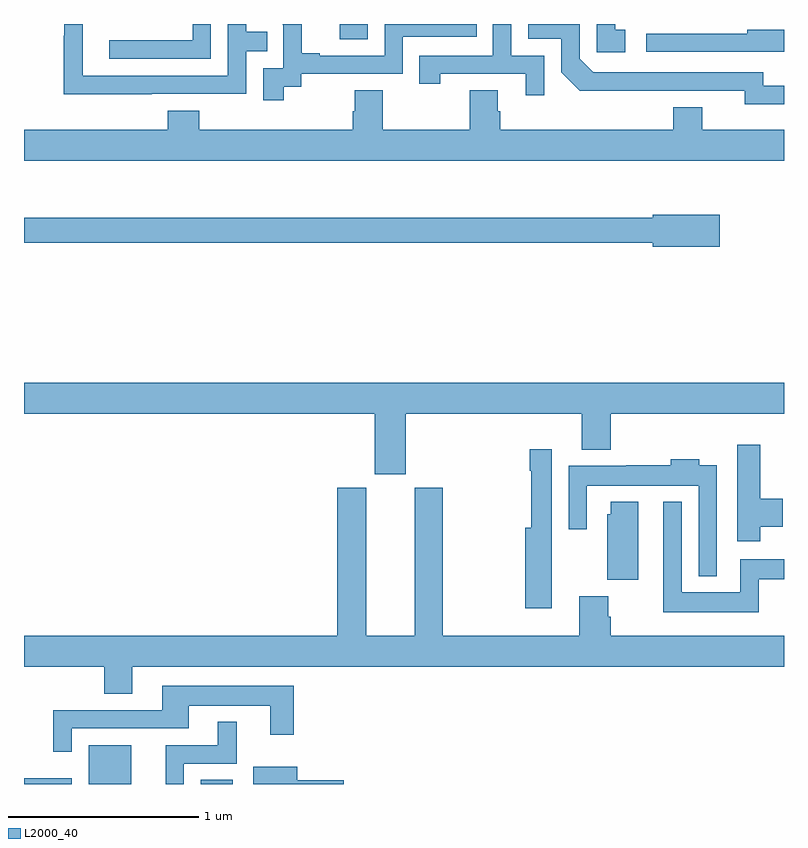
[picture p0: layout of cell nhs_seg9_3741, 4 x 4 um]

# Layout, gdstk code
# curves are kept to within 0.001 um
import gdstk
lib = gdstk.Library(unit=1e-6, precision=1e-09)
def R(c, l, rs):  # rectangles x0, y0, x1, y1
    for r in rs: c.add(gdstk.rectangle(r[:2], r[2:], *l))
def P(c, l, *ps):  # polygons
    for p in ps: c.add(gdstk.Polygon(p, *l))
L2000_40 = (2000, 40)

nhs_seg9_3741 = lib.new_cell('nhs_seg9_3741')
R(nhs_seg9_3741, L2000_40, [(325,1166.5,325.252,1166.53), (325.34,1166.5,325.564,1166.704), (325.931,1166.5,326.098,1166.522), (326.661,1170.42,326.808,1170.5)])
P(nhs_seg9_3741, L2000_40, [(328.165,1170.471),(328.112,1170.471),(328.112,1170.5),(328.014,1170.5),(328.014,1170.351),(328.165,1170.351)],
  [(325.673,1170.132),(326.169,1170.132),(326.169,1170.357),(326.279,1170.357),(326.279,1170.458),(326.169,1170.458),(326.169,1170.5),(326.073,1170.5),(326.073,1170.228),(325.308,1170.228),(325.308,1170.5),(325.212,1170.5),(325.212,1170.437),(325.21,1170.437),(325.21,1170.131),(325.673,1170.131)],
  [(327.738,1170.333),(327.564,1170.333),(327.564,1170.5),(327.468,1170.5),(327.468,1170.333),(327.079,1170.333),(327.079,1170.186),(327.19,1170.186),(327.19,1170.237),(327.641,1170.237),(327.641,1170.126),(327.738,1170.126)],
  [(326.368,1170.169),(326.46,1170.169),(326.46,1170.237),(326.994,1170.237),(326.994,1170.432),(327.383,1170.432),(327.383,1170.5),(326.898,1170.5),(326.898,1170.333),(326.557,1170.333),(326.557,1170.346),(326.462,1170.346),(326.462,1170.5),(326.363,1170.5),(326.363,1170.497),(326.364,1170.497),(326.364,1170.267),(326.259,1170.267),(326.259,1170.099),(326.368,1170.099)],
  [(325.983,1170.5),(325.887,1170.5),(325.887,1170.414),(325.449,1170.414),(325.449,1170.318),(325.983,1170.318)],
  [(329,1170.174),(328.89,1170.174),(328.89,1170.246),(327.996,1170.246),(327.924,1170.318),(327.924,1170.5),(327.654,1170.5),(327.654,1170.423),(327.828,1170.423),(327.828,1170.246),(327.926,1170.149),(328.794,1170.15),(328.794,1170.077),(329,1170.077)],
  [(329,1170.47),(328.807,1170.47),(328.807,1170.45),(328.275,1170.45),(328.275,1170.354),(329,1170.354)],
  [(329,1169.944),(328.57,1169.944),(328.57,1170.061),(328.418,1170.061),(328.418,1169.944),(327.506,1169.944),(327.506,1170.042),(327.493,1170.042),(327.493,1170.152),(327.346,1170.152),(327.346,1169.944),(326.889,1169.944),(326.889,1170.152),(326.741,1170.152),(326.741,1170.042),(326.729,1170.042),(326.729,1169.944),(325.922,1169.944),(325.922,1170.043),(325.757,1170.043),(325.757,1169.944),(325,1169.944),(325,1169.78),(329,1169.78)],
  [(328.663,1169.497),(328.31,1169.497),(328.31,1169.479),(325,1169.479),(325,1169.35),(328.31,1169.35),(328.31,1169.327),(328.663,1169.327)],
  [(327.01,1168.448),(327.935,1168.448),(327.935,1168.259),(328.088,1168.259),(328.088,1168.448),(329,1168.448),(329,1168.612),(325,1168.612),(325,1168.448),(326.846,1168.448),(326.846,1168.131),(327.01,1168.131)],
  [(328.876,1167.854),(328.993,1167.854),(328.993,1168.002),(328.876,1168.002),(328.876,1168.285),(328.754,1168.285),(328.754,1167.777),(328.876,1167.777)],
  [(327.778,1167.746),(327.777,1167.746),(327.777,1168.261),(327.661,1168.261),(327.661,1168.148),(327.669,1168.148),(327.669,1167.85),(327.637,1167.85),(327.637,1167.426),(327.778,1167.426)],
  [(328.647,1168.177),(328.555,1168.177),(328.555,1168.21),(328.403,1168.21),(328.403,1168.177),(328.171,1168.177),(328.171,1168.174),(327.867,1168.174),(327.867,1167.84),(327.963,1167.84),(327.963,1168.07),(328.551,1168.07),(328.551,1167.593),(328.647,1167.593)],
  [(325.57,1167.116),(329,1167.116),(329,1167.28),(328.088,1167.28),(328.088,1167.38),(328.075,1167.38),(328.075,1167.489),(327.923,1167.489),(327.923,1167.28),(327.204,1167.28),(327.204,1168.059),(327.056,1168.059),(327.056,1167.28),(326.8,1167.28),(326.8,1168.059),(326.648,1168.059),(326.648,1167.28),(325,1167.28),(325,1167.116),(325.423,1167.116),(325.423,1166.974),(325.57,1166.974)],
  [(328.234,1167.985),(328.088,1167.985),(328.088,1167.921),(328.07,1167.921),(328.07,1167.574),(328.234,1167.574)],
  [(328.868,1167.578),(329,1167.578),(329,1167.682),(328.77,1167.682),(328.77,1167.508),(328.461,1167.508),(328.461,1167.985),(328.364,1167.985),(328.364,1167.404),(328.868,1167.404)],
  [(325.251,1166.793),(325.867,1166.793),(325.867,1166.912),(326.297,1166.912),(326.297,1166.76),(326.419,1166.76),(326.419,1167.016),(325.727,1167.016),(325.727,1166.889),(325.154,1166.889),(325.154,1166.67),(325.251,1166.67)],
  [(325.842,1166.607),(326.119,1166.607),(326.119,1166.827),(326.021,1166.827),(326.021,1166.703),(325.745,1166.703),(325.745,1166.5),(325.842,1166.5)],
  [(326.683,1166.519),(326.437,1166.519),(326.437,1166.59),(326.207,1166.59),(326.207,1166.5),(326.683,1166.5)])

lib.write_gds('nhs_seg9_3741.gds')
